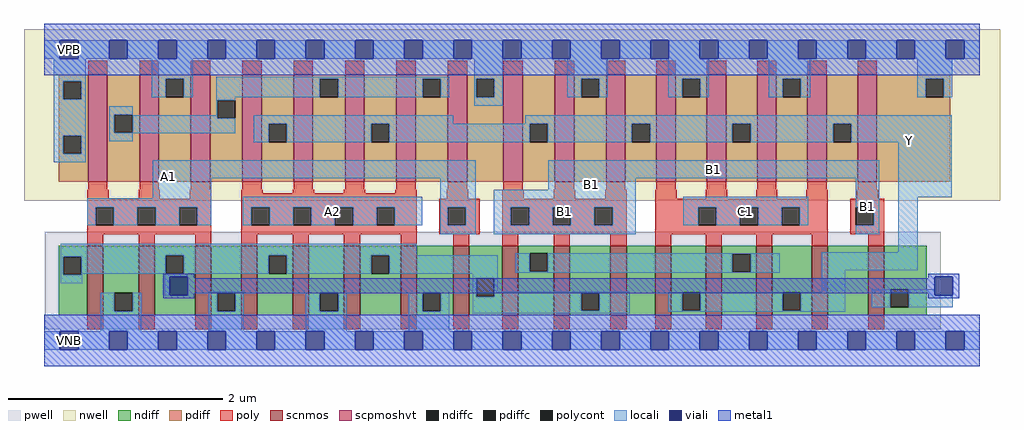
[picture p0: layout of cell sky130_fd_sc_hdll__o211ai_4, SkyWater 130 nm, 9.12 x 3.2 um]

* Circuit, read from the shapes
.subckt sky130_fd_sc_hdll__o211ai_4 A1 A2 B1 C1 VGND VNB VPB VPWR Y
XM1 VGND A1 n1 VNB sky130_fd_pr__nfet_01v8 w=0.65 l=0.15 m=4
XM2 n1 A2 VGND VNB sky130_fd_pr__nfet_01v8 w=0.65 l=0.15 m=4
XM3 n2 B1 n1 VNB sky130_fd_pr__nfet_01v8 w=0.65 l=0.15 m=2
XM4 n3 B1 n1 VNB sky130_fd_pr__nfet_01v8 w=0.65 l=0.15
XM5 Y C1 n3 VNB sky130_fd_pr__nfet_01v8 w=0.65 l=0.15
XM6 n2 C1 Y VNB sky130_fd_pr__nfet_01v8 w=0.65 l=0.15 m=2
XM7 n4 C1 Y VNB sky130_fd_pr__nfet_01v8 w=0.65 l=0.15
XM8 n1 B1 n4 VNB sky130_fd_pr__nfet_01v8 w=0.65 l=0.15
XM9 n5 A1 VPWR VPB sky130_fd_pr__pfet_01v8_hvt w=1 l=0.18 m=4
XM10 Y A2 n5 VPB sky130_fd_pr__pfet_01v8_hvt w=1 l=0.18 m=4
XM11 Y B1 VPWR VPB sky130_fd_pr__pfet_01v8_hvt w=1 l=0.18 m=4
XM12 VPWR C1 Y VPB sky130_fd_pr__pfet_01v8_hvt w=1 l=0.18 m=4
.ends

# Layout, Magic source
magic
tech sky130A
magscale 1 2
<< nwell >>
rect -38 261 1786 582
<< pwell >>
rect 1 21 1675 203
rect 30 -17 64 21
<< scnmos >>
rect 80 47 110 177
rect 176 47 206 177
rect 282 47 312 177
rect 368 47 398 177
rect 464 47 494 177
rect 560 47 590 177
rect 666 47 696 177
rect 764 47 794 177
rect 856 47 886 177
rect 952 47 982 177
rect 1058 47 1088 177
rect 1142 47 1172 177
rect 1236 47 1266 177
rect 1330 47 1360 177
rect 1434 47 1464 177
rect 1540 47 1570 177
<< scpmoshvt >>
rect 82 297 118 497
rect 178 297 214 497
rect 274 297 310 497
rect 370 297 406 497
rect 466 297 502 497
rect 562 297 598 497
rect 658 297 694 497
rect 754 297 790 497
rect 858 297 894 497
rect 954 297 990 497
rect 1050 297 1086 497
rect 1144 297 1180 497
rect 1238 297 1274 497
rect 1332 297 1368 497
rect 1426 297 1462 497
rect 1520 297 1556 497
<< ndiff >>
rect 27 157 80 177
rect 27 123 35 157
rect 69 123 80 157
rect 27 47 80 123
rect 110 89 176 177
rect 110 55 131 89
rect 165 55 176 89
rect 110 47 176 55
rect 206 159 282 177
rect 206 125 227 159
rect 261 125 282 159
rect 206 47 282 125
rect 312 89 368 177
rect 312 55 323 89
rect 357 55 368 89
rect 312 47 368 55
rect 398 159 464 177
rect 398 125 419 159
rect 453 125 464 159
rect 398 47 464 125
rect 494 89 560 177
rect 494 55 515 89
rect 549 55 560 89
rect 494 47 560 55
rect 590 159 666 177
rect 590 125 611 159
rect 645 125 666 159
rect 590 47 666 125
rect 696 89 764 177
rect 696 55 707 89
rect 741 55 764 89
rect 696 47 764 55
rect 794 116 856 177
rect 794 82 807 116
rect 841 82 856 116
rect 794 47 856 82
rect 886 163 952 177
rect 886 129 907 163
rect 941 129 952 163
rect 886 47 952 129
rect 982 90 1058 177
rect 982 56 1003 90
rect 1037 56 1058 90
rect 982 47 1058 56
rect 1088 47 1142 177
rect 1172 90 1236 177
rect 1172 56 1192 90
rect 1226 56 1236 90
rect 1172 47 1236 56
rect 1266 162 1330 177
rect 1266 128 1286 162
rect 1320 128 1330 162
rect 1266 47 1330 128
rect 1360 90 1434 177
rect 1360 56 1380 90
rect 1414 56 1434 90
rect 1360 47 1434 56
rect 1464 47 1540 177
rect 1570 96 1649 177
rect 1570 62 1581 96
rect 1615 62 1649 96
rect 1570 47 1649 62
<< pdiff >>
rect 27 485 82 497
rect 27 451 35 485
rect 69 451 82 485
rect 27 383 82 451
rect 27 349 35 383
rect 69 349 82 383
rect 27 297 82 349
rect 118 422 178 497
rect 118 388 131 422
rect 165 388 178 422
rect 118 297 178 388
rect 214 489 274 497
rect 214 455 227 489
rect 261 455 274 489
rect 214 297 274 455
rect 310 449 370 497
rect 310 415 323 449
rect 357 415 370 449
rect 310 297 370 415
rect 406 405 466 497
rect 406 371 419 405
rect 453 371 466 405
rect 406 297 466 371
rect 502 489 562 497
rect 502 455 515 489
rect 549 455 562 489
rect 502 297 562 455
rect 598 405 658 497
rect 598 371 611 405
rect 645 371 658 405
rect 598 297 658 371
rect 694 489 754 497
rect 694 455 707 489
rect 741 455 754 489
rect 694 297 754 455
rect 790 489 858 497
rect 790 455 807 489
rect 841 455 858 489
rect 790 297 858 455
rect 894 405 954 497
rect 894 371 907 405
rect 941 371 954 405
rect 894 297 954 371
rect 990 489 1050 497
rect 990 455 1003 489
rect 1037 455 1050 489
rect 990 297 1050 455
rect 1086 405 1144 497
rect 1086 371 1098 405
rect 1132 371 1144 405
rect 1086 297 1144 371
rect 1180 489 1238 497
rect 1180 455 1192 489
rect 1226 455 1238 489
rect 1180 297 1238 455
rect 1274 405 1332 497
rect 1274 371 1286 405
rect 1320 371 1332 405
rect 1274 297 1332 371
rect 1368 489 1426 497
rect 1368 455 1380 489
rect 1414 455 1426 489
rect 1368 297 1426 455
rect 1462 405 1520 497
rect 1462 371 1474 405
rect 1508 371 1520 405
rect 1462 297 1520 371
rect 1556 489 1693 497
rect 1556 455 1647 489
rect 1681 455 1693 489
rect 1556 297 1693 455
<< ndiffc >>
rect 35 123 69 157
rect 131 55 165 89
rect 227 125 261 159
rect 323 55 357 89
rect 419 125 453 159
rect 515 55 549 89
rect 611 125 645 159
rect 707 55 741 89
rect 807 82 841 116
rect 907 129 941 163
rect 1003 56 1037 90
rect 1192 56 1226 90
rect 1286 128 1320 162
rect 1380 56 1414 90
rect 1581 62 1615 96
<< pdiffc >>
rect 35 451 69 485
rect 35 349 69 383
rect 131 388 165 422
rect 227 455 261 489
rect 323 415 357 449
rect 419 371 453 405
rect 515 455 549 489
rect 611 371 645 405
rect 707 455 741 489
rect 807 455 841 489
rect 907 371 941 405
rect 1003 455 1037 489
rect 1098 371 1132 405
rect 1192 455 1226 489
rect 1286 371 1320 405
rect 1380 455 1414 489
rect 1474 371 1508 405
rect 1647 455 1681 489
<< poly >>
rect 82 497 118 523
rect 178 497 214 523
rect 274 497 310 523
rect 370 497 406 523
rect 466 497 502 523
rect 562 497 598 523
rect 658 497 694 523
rect 754 497 790 523
rect 858 497 894 523
rect 954 497 990 523
rect 1050 497 1086 523
rect 1144 497 1180 523
rect 1238 497 1274 523
rect 1332 497 1368 523
rect 1426 497 1462 523
rect 1520 497 1556 523
rect 82 282 118 297
rect 178 282 214 297
rect 274 282 310 297
rect 370 282 406 297
rect 466 282 502 297
rect 562 282 598 297
rect 658 282 694 297
rect 754 282 790 297
rect 858 282 894 297
rect 954 282 990 297
rect 1050 282 1086 297
rect 1144 282 1180 297
rect 1238 282 1274 297
rect 1332 282 1368 297
rect 1426 282 1462 297
rect 1520 282 1556 297
rect 80 265 120 282
rect 176 265 216 282
rect 272 265 312 282
rect 80 249 312 265
rect 80 215 96 249
rect 130 215 174 249
rect 208 215 252 249
rect 286 215 312 249
rect 80 199 312 215
rect 80 177 110 199
rect 176 177 206 199
rect 282 177 312 199
rect 368 275 408 282
rect 464 275 504 282
rect 560 275 600 282
rect 656 275 696 282
rect 368 249 696 275
rect 752 265 792 282
rect 856 265 896 282
rect 952 265 992 282
rect 1048 265 1088 282
rect 368 215 387 249
rect 421 215 465 249
rect 499 215 543 249
rect 577 215 621 249
rect 655 215 696 249
rect 368 199 696 215
rect 738 249 814 265
rect 738 215 754 249
rect 788 215 814 249
rect 738 199 814 215
rect 856 249 1088 265
rect 856 215 872 249
rect 906 215 950 249
rect 984 215 1028 249
rect 1062 215 1088 249
rect 856 199 1088 215
rect 368 177 398 199
rect 464 177 494 199
rect 560 177 590 199
rect 666 177 696 199
rect 764 177 794 199
rect 856 177 886 199
rect 952 177 982 199
rect 1058 177 1088 199
rect 1142 265 1182 282
rect 1236 265 1276 282
rect 1330 265 1370 282
rect 1424 265 1464 282
rect 1518 265 1558 282
rect 1142 249 1464 265
rect 1142 215 1222 249
rect 1256 215 1300 249
rect 1334 215 1378 249
rect 1412 215 1464 249
rect 1142 199 1464 215
rect 1506 249 1570 265
rect 1506 215 1516 249
rect 1550 215 1570 249
rect 1506 199 1570 215
rect 1142 177 1172 199
rect 1236 177 1266 199
rect 1330 177 1360 199
rect 1434 177 1464 199
rect 1540 177 1570 199
rect 80 21 110 47
rect 176 21 206 47
rect 282 21 312 47
rect 368 21 398 47
rect 464 21 494 47
rect 560 21 590 47
rect 666 21 696 47
rect 764 21 794 47
rect 856 21 886 47
rect 952 21 982 47
rect 1058 21 1088 47
rect 1142 21 1172 47
rect 1236 21 1266 47
rect 1330 21 1360 47
rect 1434 21 1464 47
rect 1540 21 1570 47
<< polycont >>
rect 96 215 130 249
rect 174 215 208 249
rect 252 215 286 249
rect 387 215 421 249
rect 465 215 499 249
rect 543 215 577 249
rect 621 215 655 249
rect 754 215 788 249
rect 872 215 906 249
rect 950 215 984 249
rect 1028 215 1062 249
rect 1222 215 1256 249
rect 1300 215 1334 249
rect 1378 215 1412 249
rect 1516 215 1550 249
<< locali >>
rect 0 527 29 561
rect 63 527 121 561
rect 155 527 213 561
rect 247 527 305 561
rect 339 527 397 561
rect 431 527 489 561
rect 523 527 581 561
rect 615 527 673 561
rect 707 527 765 561
rect 799 527 857 561
rect 891 527 949 561
rect 983 527 1041 561
rect 1075 527 1133 561
rect 1167 527 1225 561
rect 1259 527 1317 561
rect 1351 527 1409 561
rect 1443 527 1501 561
rect 1535 527 1593 561
rect 1627 527 1685 561
rect 1719 527 1748 561
rect 18 485 77 527
rect 18 451 35 485
rect 69 451 77 485
rect 201 489 277 527
rect 201 455 227 489
rect 261 455 277 489
rect 321 489 757 493
rect 321 455 515 489
rect 549 455 707 489
rect 741 455 757 489
rect 803 489 857 527
rect 803 455 807 489
rect 841 455 857 489
rect 977 489 1053 527
rect 977 455 1003 489
rect 1037 455 1053 489
rect 1166 489 1242 527
rect 1166 455 1192 489
rect 1226 455 1242 489
rect 1354 489 1431 527
rect 1354 455 1380 489
rect 1414 455 1431 489
rect 1631 489 1697 527
rect 1631 455 1647 489
rect 1681 455 1697 489
rect 18 383 77 451
rect 321 449 357 455
rect 18 349 35 383
rect 69 349 77 383
rect 121 422 165 438
rect 121 388 131 422
rect 321 421 323 449
rect 165 415 323 421
rect 803 439 857 455
rect 165 388 357 415
rect 121 387 357 388
rect 391 405 764 421
rect 899 405 1696 421
rect 121 372 165 387
rect 391 371 419 405
rect 453 371 611 405
rect 645 371 907 405
rect 941 371 1098 405
rect 1132 371 1286 405
rect 1320 371 1474 405
rect 1508 371 1696 405
rect 18 333 77 349
rect 203 303 806 337
rect 203 266 312 303
rect 80 249 312 266
rect 80 215 96 249
rect 130 215 174 249
rect 208 215 252 249
rect 286 215 312 249
rect 371 249 706 269
rect 371 215 387 249
rect 421 215 465 249
rect 499 215 543 249
rect 577 215 621 249
rect 655 215 706 249
rect 740 249 806 303
rect 942 303 1560 337
rect 942 282 1105 303
rect 740 215 754 249
rect 788 215 806 249
rect 740 199 806 215
rect 840 249 1105 282
rect 840 215 872 249
rect 906 215 950 249
rect 984 215 1028 249
rect 1062 215 1105 249
rect 1194 249 1428 269
rect 1194 215 1222 249
rect 1256 215 1300 249
rect 1334 215 1378 249
rect 1412 215 1428 249
rect 1516 249 1560 303
rect 1550 215 1560 249
rect 840 199 1105 215
rect 1516 199 1560 215
rect 1596 268 1696 371
rect 31 159 696 181
rect 1596 165 1632 268
rect 31 157 227 159
rect 31 123 35 157
rect 69 125 227 157
rect 261 125 419 159
rect 453 125 611 159
rect 645 125 847 159
rect 881 129 907 163
rect 941 162 1374 163
rect 941 129 1286 162
rect 881 128 1286 129
rect 1320 128 1374 162
rect 881 127 1374 128
rect 1453 131 1632 165
rect 69 123 71 125
rect 31 107 71 123
rect 225 119 268 125
rect 105 55 131 89
rect 165 55 181 89
rect 225 85 234 119
rect 801 116 847 125
rect 307 89 373 91
rect 105 17 181 55
rect 307 55 323 89
rect 357 55 373 89
rect 307 17 373 55
rect 489 55 515 89
rect 549 55 565 89
rect 489 17 565 55
rect 681 55 707 89
rect 741 55 757 89
rect 681 17 757 55
rect 801 82 807 116
rect 841 91 847 116
rect 841 90 1094 91
rect 1453 90 1497 131
rect 841 82 1003 90
rect 801 56 1003 82
rect 1037 56 1094 90
rect 801 51 1094 56
rect 1166 56 1192 90
rect 1226 56 1380 90
rect 1414 56 1497 90
rect 1546 62 1581 96
rect 1615 85 1664 96
rect 1615 62 1698 85
rect 1166 54 1497 56
rect 0 -17 29 17
rect 63 -17 121 17
rect 155 -17 213 17
rect 247 -17 305 17
rect 339 -17 397 17
rect 431 -17 489 17
rect 523 -17 581 17
rect 615 -17 673 17
rect 707 -17 765 17
rect 799 -17 857 17
rect 891 -17 949 17
rect 983 -17 1041 17
rect 1075 -17 1133 17
rect 1167 -17 1225 17
rect 1259 -17 1317 17
rect 1351 -17 1409 17
rect 1443 -17 1501 17
rect 1535 -17 1593 17
rect 1627 -17 1685 17
rect 1719 -17 1748 17
<< viali >>
rect 29 527 63 561
rect 121 527 155 561
rect 213 527 247 561
rect 305 527 339 561
rect 397 527 431 561
rect 489 527 523 561
rect 581 527 615 561
rect 673 527 707 561
rect 765 527 799 561
rect 857 527 891 561
rect 949 527 983 561
rect 1041 527 1075 561
rect 1133 527 1167 561
rect 1225 527 1259 561
rect 1317 527 1351 561
rect 1409 527 1443 561
rect 1501 527 1535 561
rect 1593 527 1627 561
rect 1685 527 1719 561
rect 234 85 268 119
rect 1664 85 1698 119
rect 29 -17 63 17
rect 121 -17 155 17
rect 213 -17 247 17
rect 305 -17 339 17
rect 397 -17 431 17
rect 489 -17 523 17
rect 581 -17 615 17
rect 673 -17 707 17
rect 765 -17 799 17
rect 857 -17 891 17
rect 949 -17 983 17
rect 1041 -17 1075 17
rect 1133 -17 1167 17
rect 1225 -17 1259 17
rect 1317 -17 1351 17
rect 1409 -17 1443 17
rect 1501 -17 1535 17
rect 1593 -17 1627 17
rect 1685 -17 1719 17
<< metal1 >>
rect 0 561 1748 592
rect 0 527 29 561
rect 63 527 121 561
rect 155 527 213 561
rect 247 527 305 561
rect 339 527 397 561
rect 431 527 489 561
rect 523 527 581 561
rect 615 527 673 561
rect 707 527 765 561
rect 799 527 857 561
rect 891 527 949 561
rect 983 527 1041 561
rect 1075 527 1133 561
rect 1167 527 1225 561
rect 1259 527 1317 561
rect 1351 527 1409 561
rect 1443 527 1501 561
rect 1535 527 1593 561
rect 1627 527 1685 561
rect 1719 527 1748 561
rect 0 496 1748 527
rect 222 119 280 125
rect 222 85 234 119
rect 268 116 280 119
rect 1652 119 1710 125
rect 1652 116 1664 119
rect 268 88 1664 116
rect 268 85 280 88
rect 222 79 280 85
rect 1652 85 1664 88
rect 1698 85 1710 119
rect 1652 79 1710 85
rect 0 17 1748 48
rect 0 -17 29 17
rect 63 -17 121 17
rect 155 -17 213 17
rect 247 -17 305 17
rect 339 -17 397 17
rect 431 -17 489 17
rect 523 -17 581 17
rect 615 -17 673 17
rect 707 -17 765 17
rect 799 -17 857 17
rect 891 -17 949 17
rect 983 -17 1041 17
rect 1075 -17 1133 17
rect 1167 -17 1225 17
rect 1259 -17 1317 17
rect 1351 -17 1409 17
rect 1443 -17 1501 17
rect 1535 -17 1593 17
rect 1627 -17 1685 17
rect 1719 -17 1748 17
rect 0 -48 1748 -17
<< labels >>
flabel locali s 215 289 249 323 0 FreeSans 340 0 0 0 A1
port 1 nsew signal input
flabel locali s 1516 199 1560 303 0 FreeSans 340 0 0 0 B1
port 3 nsew signal input
flabel locali s 371 215 706 269 0 FreeSans 340 0 0 0 A2
port 2 nsew signal input
flabel locali s 1194 215 1428 269 0 FreeSans 340 0 0 0 C1
port 4 nsew signal input
flabel locali s 1599 357 1633 391 0 FreeSans 340 0 0 0 Y
port 9 nsew signal output
flabel pwell s 30 -17 64 17 0 FreeSans 200 0 0 0 VNB
port 6 nsew ground bidirectional
flabel nwell s 30 527 64 561 0 FreeSans 200 0 0 0 VPB
port 7 nsew power bidirectional
flabel metal1 s 30 -17 64 17 0 FreeSans 200 0 0 0 VGND
port 5 nsew ground bidirectional
flabel metal1 s 30 527 64 561 0 FreeSans 200 0 0 0 VPWR
port 8 nsew power bidirectional
rlabel comment s 0 0 0 0 4 o211ai_4
rlabel locali s 942 303 1560 337 1 B1
port 3 nsew signal input
rlabel locali s 942 282 1105 303 1 B1
port 3 nsew signal input
rlabel locali s 840 199 1105 282 1 B1
port 3 nsew signal input
<< properties >>
string LEFsite unithd
string LEFclass CORE
string FIXED_BBOX 0 0 1748 544
string GDS_FILE $PDKPATH/libs.ref/sky130_fd_sc_hdll/gds/sky130_fd_sc_hdll.gds
string LEFsymmetry X Y R90
string GDS_END 2409552
string GDS_START 2398780
string LEFproperties maskLayoutSubType "abstract" prCellType "standard" originalViewName "layout"
<< end >>
